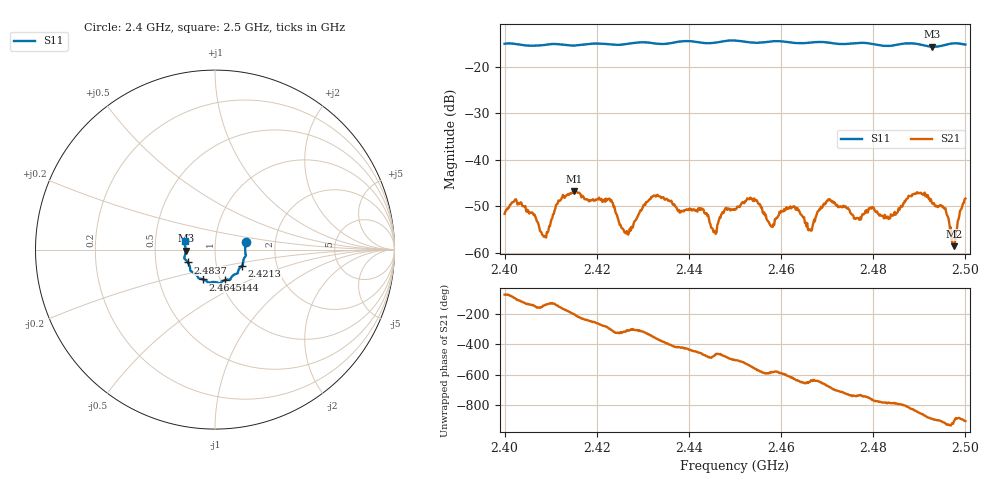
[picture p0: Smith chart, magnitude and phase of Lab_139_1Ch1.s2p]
# Hz S RI R 50
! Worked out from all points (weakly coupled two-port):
!   601 points, 2.4 GHz to 2.5 GHz, reference 50 ohm
!   highest |S21| = -46.76 dB at 2.4152 GHz (marker M1); lowest = -58.5 dB at 2.4975 GHz (marker M2)
!   lowest |S11| = -15.7 dB at 2.4928 GHz (marker M3), VSWR 1.39, Z = 36 - j0.39 ohm
!   |S11| at or under -10 dB: start of sweep to end of sweep
!   S12 and S22 are empty: the file has one direction only
!   S11 on the Smith chart (normalised r, x): 2.4 GHz: 1.41, +0.12; 2.4213 GHz: 1.33, -0.25; 2.444 GHz: 1.06, -0.37; 2.4645 GHz: 0.83, -0.29; 2.4837 GHz: 0.73, -0.11; 2.5 GHz: 0.71, +0.07
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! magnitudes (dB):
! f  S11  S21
! 2.4 GHz  -15.1  -51.6
! 2.404 GHz  -15.4  -50.0
! 2.4087 GHz  -15.3  -56.3
! 2.4117 GHz  -15.2  -48.7
! 2.4152 GHz  -15.5  -46.8
! 2.4167 GHz  -15.3  -48.1
! 2.4213 GHz  -15.1  -49.0
! 2.4265 GHz  -15.1  -55.3
! 2.4333 GHz  -15.1  -47.8
! 2.444 GHz  -15.0  -52.1
! 2.4455 GHz  -14.9  -55.5
! 2.45 GHz  -14.4  -50.6
! 2.4645 GHz  -15.0  -51.9
! 2.4667 GHz  -14.8  -55.1
! 2.4703 GHz  -14.8  -48.7
! 2.4833 GHz  -15.6  -52.7
! 2.4837 GHz  -15.5  -52.6
! 2.489 GHz  -15.0  -47.3
! 2.4928 GHz  -15.7  -49.4
! 2.4957 GHz  -15.3  -50.4
! 2.4975 GHz  -15.0  -58.5
! 2.5 GHz  -15.3  -48.3
